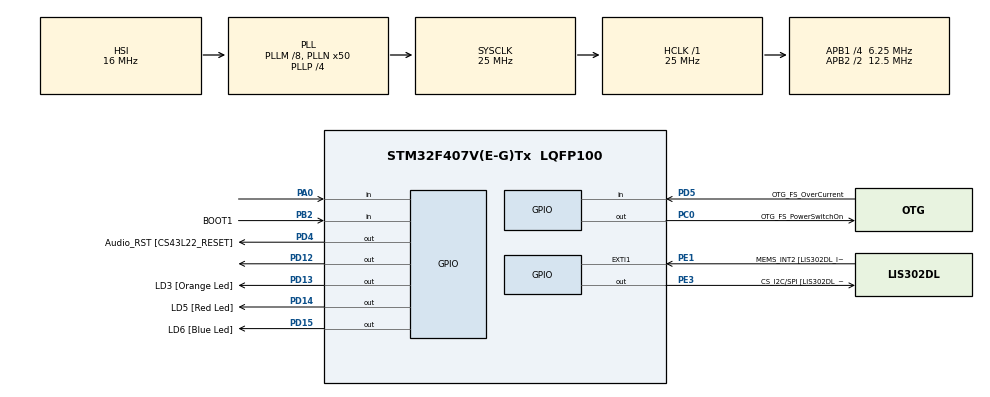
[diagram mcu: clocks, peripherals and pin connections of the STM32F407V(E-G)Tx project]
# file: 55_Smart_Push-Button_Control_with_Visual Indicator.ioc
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Mcu.Family=STM32F4
Mcu.Name=STM32F407V(E-G)Tx
Mcu.Package=LQFP100
NVIC.PriorityGroup=NVIC_PRIORITYGROUP_0
PA0-WKUP.Signal=GPIO_Input
PA10.GPIO_Label=OTG_FS_ID
PA10.GPIO_Mode=GPIO_MODE_AF_PP
PA10.GPIO_PuPd=GPIO_NOPULL
PA10.GPIO_Speed=GPIO_SPEED_FREQ_LOW
PA10.Signal=USB_OTG_FS_ID
PA11.GPIO_Label=OTG_FS_DM
PA11.GPIO_Mode=GPIO_MODE_AF_PP
PA11.GPIO_PuPd=GPIO_NOPULL
PA11.GPIO_Speed=GPIO_SPEED_FREQ_LOW
PA11.Signal=USB_OTG_FS_DM
PA12.GPIO_Label=OTG_FS_DP
PA12.GPIO_Mode=GPIO_MODE_AF_PP
PA12.GPIO_PuPd=GPIO_NOPULL
PA12.GPIO_Speed=GPIO_SPEED_FREQ_LOW
PA12.Signal=USB_OTG_FS_DP
PA13.GPIO_Label=SWDIO
PA13.Signal=SYS_JTMS-SWDIO
PA14.GPIO_Label=SWCLK
PA14.Signal=SYS_JTCK-SWCLK
PA4.GPIO_Label=I2S3_WS [CS43L22_LRCK]
PA4.GPIO_Mode=GPIO_MODE_AF_PP
PA4.GPIO_PuPd=GPIO_NOPULL
PA4.GPIO_Speed=GPIO_SPEED_FREQ_LOW
PA4.Signal=I2S3_WS
PA5.GPIO_Label=SPI1_SCK [LIS302DL_SCL/SPC]
PA5.GPIO_Mode=GPIO_MODE_AF_PP
PA5.GPIO_PuPd=GPIO_NOPULL
PA5.GPIO_Speed=GPIO_SPEED_FREQ_LOW
PA5.Signal=SPI1_SCK
PA6.GPIO_Label=SPI1_MISO [LIS302DL_SDO]
PA6.GPIO_Mode=GPIO_MODE_AF_PP
PA6.GPIO_PuPd=GPIO_NOPULL
PA6.GPIO_Speed=GPIO_SPEED_FREQ_LOW
PA6.Signal=SPI1_MISO
PA7.GPIO_Label=SPI1_MOSI [LIS302DL_SDA/SDI/SDO]
PA7.GPIO_Mode=GPIO_MODE_AF_PP
PA7.GPIO_PuPd=GPIO_NOPULL
PA7.GPIO_Speed=GPIO_SPEED_FREQ_LOW
PA7.Signal=SPI1_MOSI
PA9.GPIO_Label=VBUS_FS
PA9.GPIO_Mode=GPIO_MODE_INPUT
PA9.GPIO_PuPd=GPIO_NOPULL
PA9.Signal=USB_OTG_FS_VBUS
PB10.GPIO_Label=CLK_IN [MP45DT02_CLK]
PB10.GPIO_Mode=GPIO_MODE_AF_PP
PB10.GPIO_PuPd=GPIO_NOPULL
PB10.GPIO_Speed=GPIO_SPEED_FREQ_LOW
PB10.Signal=I2S2_CK
PB2.GPIO_Label=BOOT1
PB2.GPIO_Mode=GPIO_MODE_INPUT
PB2.GPIO_PuPd=GPIO_NOPULL
PB2.Signal=GPIO_Input
PB3.GPIO_Label=SWO
PB3.Signal=SYS_JTDO-SWO
PB6.GPIO_Label=Audio_SCL [CS43L22_SCL]
PB6.GPIO_Mode=GPIO_MODE_AF_OD
PB6.GPIO_PuPd=GPIO_NOPULL
PB6.GPIO_Speed=GPIO_SPEED_FREQ_LOW
PB6.Signal=I2C1_SCL
PB9.GPIO_Label=Audio_SDA [CS43L22_SDA]
PB9.GPIO_Mode=GPIO_MODE_AF_OD
PB9.GPIO_PuPd=GPIO_NOPULL
PB9.GPIO_Speed=GPIO_SPEED_FREQ_LOW
PB9.Signal=I2C1_SDA
PC0.GPIO_Label=OTG_FS_PowerSwitchOn
PC0.GPIO_PuPd=GPIO_NOPULL
PC0.GPIO_Speed=GPIO_SPEED_FREQ_LOW
PC0.PinState=GPIO_PIN_SET
PC0.Signal=GPIO_Output
PC10.GPIO_Label=I2S3_SCK [CS43L22_SCLK]
PC10.GPIO_Mode=GPIO_MODE_AF_PP
PC10.GPIO_PuPd=GPIO_NOPULL
PC10.GPIO_Speed=GPIO_SPEED_FREQ_LOW
PC10.Signal=I2S3_CK
PC12.GPIO_Label=I2S3_SD [CS43L22_SDIN]
PC12.GPIO_Mode=GPIO_MODE_AF_PP
PC12.GPIO_PuPd=GPIO_NOPULL
PC12.GPIO_Speed=GPIO_SPEED_FREQ_LOW
PC12.Signal=I2S3_SD
PC14-OSC32_IN.GPIO_Label=PC14-OSC32_IN
PC14-OSC32_IN.Signal=RCC_OSC32_IN
PC15-OSC32_OUT.GPIO_Label=PC15-OSC32_OUT
PC15-OSC32_OUT.Signal=RCC_OSC32_OUT
PC3.GPIO_Label=PDM_OUT [MP45DT02_DOUT]
PC3.GPIO_Mode=GPIO_MODE_AF_PP
PC3.GPIO_PuPd=GPIO_NOPULL
PC3.GPIO_Speed=GPIO_SPEED_FREQ_LOW
PC3.Signal=I2S2_SD
PC7.GPIO_Label=I2S3_MCK [CS43L22_MCLK]
PC7.GPIO_Mode=GPIO_MODE_AF_PP
PC7.GPIO_PuPd=GPIO_NOPULL
PC7.GPIO_Speed=GPIO_SPEED_FREQ_LOW
PC7.Signal=I2S3_MCK
PD12.Signal=GPIO_Output
PD13.GPIO_Label=LD3 [Orange Led]
PD13.GPIO_PuPd=GPIO_NOPULL
PD13.GPIO_Speed=GPIO_SPEED_FREQ_LOW
PD13.Signal=GPIO_Output
PD14.GPIO_Label=LD5 [Red Led]
PD14.GPIO_PuPd=GPIO_NOPULL
PD14.GPIO_Speed=GPIO_SPEED_FREQ_LOW
PD14.Signal=GPIO_Output
PD15.GPIO_Label=LD6 [Blue Led]
PD15.GPIO_PuPd=GPIO_NOPULL
PD15.GPIO_Speed=GPIO_SPEED_FREQ_LOW
PD15.Signal=GPIO_Output
PD4.GPIO_Label=Audio_RST [CS43L22_RESET]
PD4.GPIO_PuPd=GPIO_NOPULL
PD4.GPIO_Speed=GPIO_SPEED_FREQ_LOW
PD4.Signal=GPIO_Output
PD5.GPIO_Label=OTG_FS_OverCurrent
PD5.GPIO_Mode=GPIO_MODE_INPUT
PD5.GPIO_PuPd=GPIO_NOPULL
PD5.Signal=GPIO_Input
PE1.GPIO_Label=MEMS_INT2 [LIS302DL_INT2]
PE1.GPIO_ModeDefaultEXTI=GPIO_MODE_EVT_RISING
PE1.GPIO_PuPd=GPIO_NOPULL
PE1.Signal=GPXTI1
PE3.GPIO_Label=CS_I2C/SPI [LIS302DL_CS_I2C/SPI]
PE3.GPIO_PuPd=GPIO_NOPULL
PE3.GPIO_Speed=GPIO_SPEED_FREQ_LOW
PE3.Signal=GPIO_Output
PH0-OSC_IN.GPIO_Label=PH0-OSC_IN
PH0-OSC_IN.Signal=RCC_OSC_IN
PH1-OSC_OUT.GPIO_Label=PH1-OSC_OUT
PH1-OSC_OUT.Signal=RCC_OSC_OUT
ProjectManager.HeapSize=0x200
ProjectManager.StackSize=0x400
ProjectManager.TargetToolchain=STM32CubeIDE
RCC.48MHZClocksFreq_Value=14285714.285714285
RCC.AHBFreq_Value=25000000
RCC.APB1CLKDivider=RCC_HCLK_DIV4
RCC.APB1Freq_Value=6250000
RCC.APB1TimFreq_Value=12500000
RCC.APB2CLKDivider=RCC_HCLK_DIV2
RCC.APB2Freq_Value=12500000
RCC.APB2TimFreq_Value=25000000
RCC.CortexFreq_Value=25000000
RCC.HCLKFreq_Value=25000000
RCC.HSE_VALUE=8000000
RCC.HSI_VALUE=16000000
RCC.LSE_VALUE=32768
RCC.PLLM=8
RCC.PLLN=50
RCC.PLLP=RCC_PLLP_DIV4
RCC.PLLQ=7
RCC.SYSCLKFreq_VALUE=25000000
RCC.SYSCLKSource=RCC_SYSCLKSOURCE_PLLCLK
RCC.VCOOutputFreq_Value=100000000
board=STM32F407G-DISC1

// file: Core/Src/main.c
/* USER CODE BEGIN Header */
/**
  ******************************************************************************
  * @file           : main.c
  * @brief          : Main program body
  ******************************************************************************
  * @attention
  *
  * Copyright (c) 2026 STMicroelectronics.
  * All rights reserved.
  *
  * This software is licensed under terms that can be found in the LICENSE file
  * in the root directory of this software component.
  * If no LICENSE file comes with this software, it is provided AS-IS.
  *
  ******************************************************************************
  */
/* USER CODE END Header */
#include "main.h"

/* USER CODE BEGIN PV */
// Stores LED state
uint8_t led_state = 0;

// Button timing variables
uint32_t press_start = 0;
uint32_t press_duration = 0;

// Button state tracking
uint8_t button_pressed = 0;
/* USER CODE END PV */

void SystemClock_Config(void);
static void MX_GPIO_Init(void);

int main(void)
{

  /* MCU Configuration--------------------------------------------------------*/

  /* Reset of all peripherals, Initializes the Flash interface and the Systick. */
  HAL_Init();

  /* Configure the system clock */
  SystemClock_Config();

  /* Initialize all configured peripherals */
  MX_GPIO_Init();

  /* Infinite loop */
  while (1)
  {

    /* USER CODE BEGIN 3 */
	  // Read USER button state
	      if(HAL_GPIO_ReadPin(GPIOA, GPIO_PIN_0) == GPIO_PIN_SET)
	      {
	          // Debounce delay
	          HAL_Delay(50);

	          // Check again after debounce
	          if(HAL_GPIO_ReadPin(GPIOA, GPIO_PIN_0) == GPIO_PIN_SET)
	          {
	              // Button pressed first time
	              if(button_pressed == 0)
	              {
	                  button_pressed = 1;

	                  // Save press start time
	                  press_start = HAL_GetTick();
	              }
	          }
	      }
	      else
	      {
	          // Button released
	          if(button_pressed == 1)
	          {
	              button_pressed = 0;

	              // Calculate how long button pressed
	              press_duration = HAL_GetTick() - press_start;

	              // LONG PRESS (> 2 sec)
	              if(press_duration >= 2000)
	              {
	                  // Blink LED rapidly 3 times
	                  for(int i = 0; i < 3; i++)
	                  {
	                      HAL_GPIO_TogglePin(GPIOD,
	                                         GPIO_PIN_12);

	                      HAL_Delay(200);

	                      HAL_GPIO_TogglePin(GPIOD,
	                                         GPIO_PIN_12);

	                      HAL_Delay(200);
	                  }
	              }
	              else
	              {
	                  // SHORT PRESS
	                  // Toggle LED state
	                  led_state = !led_state;

	                  HAL_GPIO_WritePin(GPIOD,
	                                    GPIO_PIN_12,
	                                    led_state);
	              }
	          }
	      }
  }
  /* USER CODE END 3 */
}

void SystemClock_Config(void)
{
  RCC_OscInitTypeDef RCC_OscInitStruct = {0};
  RCC_ClkInitTypeDef RCC_ClkInitStruct = {0};

  /** Configure the main internal regulator output voltage
  */
  __HAL_RCC_PWR_CLK_ENABLE();
  __HAL_PWR_VOLTAGESCALING_CONFIG(PWR_REGULATOR_VOLTAGE_SCALE1);

  /** Initializes the RCC Oscillators according to the specified parameters
  * in the RCC_OscInitTypeDef structure.
  */
  RCC_OscInitStruct.OscillatorType = RCC_OSCILLATORTYPE_HSI;
  RCC_OscInitStruct.HSIState = RCC_HSI_ON;
  RCC_OscInitStruct.HSICalibrationValue = RCC_HSICALIBRATION_DEFAULT;
  RCC_OscInitStruct.PLL.PLLState = RCC_PLL_ON;
  RCC_OscInitStruct.PLL.PLLSource = RCC_PLLSOURCE_HSI;
  RCC_OscInitStruct.PLL.PLLM = 8;
  RCC_OscInitStruct.PLL.PLLN = 50;
  RCC_OscInitStruct.PLL.PLLP = RCC_PLLP_DIV4;
  RCC_OscInitStruct.PLL.PLLQ = 7;
  if (HAL_RCC_OscConfig(&RCC_OscInitStruct) != HAL_OK)
  {
    Error_Handler();
  }

  /** Initializes the CPU, AHB and APB buses clocks
  */
  RCC_ClkInitStruct.ClockType = RCC_CLOCKTYPE_HCLK|RCC_CLOCKTYPE_SYSCLK
                              |RCC_CLOCKTYPE_PCLK1|RCC_CLOCKTYPE_PCLK2;
  RCC_ClkInitStruct.SYSCLKSource = RCC_SYSCLKSOURCE_PLLCLK;
  RCC_ClkInitStruct.AHBCLKDivider = RCC_SYSCLK_DIV1;
  RCC_ClkInitStruct.APB1CLKDivider = RCC_HCLK_DIV4;
  RCC_ClkInitStruct.APB2CLKDivider = RCC_HCLK_DIV2;

  if (HAL_RCC_ClockConfig(&RCC_ClkInitStruct, FLASH_LATENCY_0) != HAL_OK)
  {
    Error_Handler();
  }
}

static void MX_GPIO_Init(void)
{
  GPIO_InitTypeDef GPIO_InitStruct = {0};

  /* GPIO Ports Clock Enable */
  __HAL_RCC_GPIOE_CLK_ENABLE();
  __HAL_RCC_GPIOC_CLK_ENABLE();
  __HAL_RCC_GPIOH_CLK_ENABLE();
  __HAL_RCC_GPIOA_CLK_ENABLE();
  __HAL_RCC_GPIOB_CLK_ENABLE();
  __HAL_RCC_GPIOD_CLK_ENABLE();

  /*Configure GPIO pin Output Level */
  HAL_GPIO_WritePin(CS_I2C_SPI_GPIO_Port, CS_I2C_SPI_Pin, GPIO_PIN_RESET);

  /*Configure GPIO pin Output Level */
  HAL_GPIO_WritePin(OTG_FS_PowerSwitchOn_GPIO_Port, OTG_FS_PowerSwitchOn_Pin, GPIO_PIN_SET);

  /*Configure GPIO pin Output Level */
  HAL_GPIO_WritePin(GPIOD, GPIO_PIN_12|LD3_Pin|LD5_Pin|LD6_Pin
                          |Audio_RST_Pin, GPIO_PIN_RESET);

  /*Configure GPIO pin : CS_I2C_SPI_Pin */
  GPIO_InitStruct.Pin = CS_I2C_SPI_Pin;
  GPIO_InitStruct.Mode = GPIO_MODE_OUTPUT_PP;
  GPIO_InitStruct.Pull = GPIO_NOPULL;
  GPIO_InitStruct.Speed = GPIO_SPEED_FREQ_LOW;
  HAL_GPIO_Init(CS_I2C_SPI_GPIO_Port, &GPIO_InitStruct);

  /*Configure GPIO pin : OTG_FS_PowerSwitchOn_Pin */
  GPIO_InitStruct.Pin = OTG_FS_PowerSwitchOn_Pin;
  GPIO_InitStruct.Mode = GPIO_MODE_OUTPUT_PP;
  GPIO_InitStruct.Pull = GPIO_NOPULL;
  GPIO_InitStruct.Speed = GPIO_SPEED_FREQ_LOW;
  HAL_GPIO_Init(OTG_FS_PowerSwitchOn_GPIO_Port, &GPIO_InitStruct);

  /*Configure GPIO pin : PDM_OUT_Pin */
  GPIO_InitStruct.Pin = PDM_OUT_Pin;
  GPIO_InitStruct.Mode = GPIO_MODE_AF_PP;
  GPIO_InitStruct.Pull = GPIO_NOPULL;
  GPIO_InitStruct.Speed = GPIO_SPEED_FREQ_LOW;
  GPIO_InitStruct.Alternate = GPIO_AF5_SPI2;
  HAL_GPIO_Init(PDM_OUT_GPIO_Port, &GPIO_InitStruct);

  /*Configure GPIO pin : PA0 */
  GPIO_InitStruct.Pin = GPIO_PIN_0;
  GPIO_InitStruct.Mode = GPIO_MODE_INPUT;
  GPIO_InitStruct.Pull = GPIO_NOPULL;
  HAL_GPIO_Init(GPIOA, &GPIO_InitStruct);

  /*Configure GPIO pin : I2S3_WS_Pin */
  GPIO_InitStruct.Pin = I2S3_WS_Pin;
  GPIO_InitStruct.Mode = GPIO_MODE_AF_PP;
  GPIO_InitStruct.Pull = GPIO_NOPULL;
  GPIO_InitStruct.Speed = GPIO_SPEED_FREQ_LOW;
  GPIO_InitStruct.Alternate = GPIO_AF6_SPI3;
  HAL_GPIO_Init(I2S3_WS_GPIO_Port, &GPIO_InitStruct);

  /*Configure GPIO pins : SPI1_SCK_Pin SPI1_MISO_Pin SPI1_MOSI_Pin */
  GPIO_InitStruct.Pin = SPI1_SCK_Pin|SPI1_MISO_Pin|SPI1_MOSI_Pin;
  GPIO_InitStruct.Mode = GPIO_MODE_AF_PP;
  GPIO_InitStruct.Pull = GPIO_NOPULL;
  GPIO_InitStruct.Speed = GPIO_SPEED_FREQ_LOW;
  GPIO_InitStruct.Alternate = GPIO_AF5_SPI1;
  HAL_GPIO_Init(GPIOA, &GPIO_InitStruct);

  /*Configure GPIO pin : BOOT1_Pin */
  GPIO_InitStruct.Pin = BOOT1_Pin;
  GPIO_InitStruct.Mode = GPIO_MODE_INPUT;
  GPIO_InitStruct.Pull = GPIO_NOPULL;
  HAL_GPIO_Init(BOOT1_GPIO_Port, &GPIO_InitStruct);

  /*Configure GPIO pin : CLK_IN_Pin */
  GPIO_InitStruct.Pin = CLK_IN_Pin;
  GPIO_InitStruct.Mode = GPIO_MODE_AF_PP;
  GPIO_InitStruct.Pull = GPIO_NOPULL;
  GPIO_InitStruct.Speed = GPIO_SPEED_FREQ_LOW;
  GPIO_InitStruct.Alternate = GPIO_AF5_SPI2;
  HAL_GPIO_Init(CLK_IN_GPIO_Port, &GPIO_InitStruct);

  /*Configure GPIO pins : PD12 LD3_Pin LD5_Pin LD6_Pin
                           Audio_RST_Pin */
  GPIO_InitStruct.Pin = GPIO_PIN_12|LD3_Pin|LD5_Pin|LD6_Pin
                          |Audio_RST_Pin;
  GPIO_InitStruct.Mode = GPIO_MODE_OUTPUT_PP;
  GPIO_InitStruct.Pull = GPIO_NOPULL;
  GPIO_InitStruct.Speed = GPIO_SPEED_FREQ_LOW;
  HAL_GPIO_Init(GPIOD, &GPIO_InitStruct);

  /*Configure GPIO pins : I2S3_MCK_Pin I2S3_SCK_Pin I2S3_SD_Pin */
  GPIO_InitStruct.Pin = I2S3_MCK_Pin|I2S3_SCK_Pin|I2S3_SD_Pin;
  GPIO_InitStruct.Mode = GPIO_MODE_AF_PP;
  GPIO_InitStruct.Pull = GPIO_NOPULL;
  GPIO_InitStruct.Speed = GPIO_SPEED_FREQ_LOW;
  GPIO_InitStruct.Alternate = GPIO_AF6_SPI3;
  HAL_GPIO_Init(GPIOC, &GPIO_InitStruct);

  /*Configure GPIO pin : VBUS_FS_Pin */
  GPIO_InitStruct.Pin = VBUS_FS_Pin;
  GPIO_InitStruct.Mode = GPIO_MODE_INPUT;
  GPIO_InitStruct.Pull = GPIO_NOPULL;
  HAL_GPIO_Init(VBUS_FS_GPIO_Port, &GPIO_InitStruct);

  /*Configure GPIO pins : OTG_FS_ID_Pin OTG_FS_DM_Pin OTG_FS_DP_Pin */
  GPIO_InitStruct.Pin = OTG_FS_ID_Pin|OTG_FS_DM_Pin|OTG_FS_DP_Pin;
  GPIO_InitStruct.Mode = GPIO_MODE_AF_PP;
  GPIO_InitStruct.Pull = GPIO_NOPULL;
  GPIO_InitStruct.Speed = GPIO_SPEED_FREQ_LOW;
  GPIO_InitStruct.Alternate = GPIO_AF10_OTG_FS;
  HAL_GPIO_Init(GPIOA, &GPIO_InitStruct);

  /*Configure GPIO pin : OTG_FS_OverCurrent_Pin */
  GPIO_InitStruct.Pin = OTG_FS_OverCurrent_Pin;
  GPIO_InitStruct.Mode = GPIO_MODE_INPUT;
  GPIO_InitStruct.Pull = GPIO_NOPULL;
  HAL_GPIO_Init(OTG_FS_OverCurrent_GPIO_Port, &GPIO_InitStruct);

  /*Configure GPIO pins : Audio_SCL_Pin Audio_SDA_Pin */
  GPIO_InitStruct.Pin = Audio_SCL_Pin|Audio_SDA_Pin;
  GPIO_InitStruct.Mode = GPIO_MODE_AF_OD;
  GPIO_InitStruct.Pull = GPIO_NOPULL;
  GPIO_InitStruct.Speed = GPIO_SPEED_FREQ_LOW;
  GPIO_InitStruct.Alternate = GPIO_AF4_I2C1;
  HAL_GPIO_Init(GPIOB, &GPIO_InitStruct);

  /*Configure GPIO pin : MEMS_INT2_Pin */
  GPIO_InitStruct.Pin = MEMS_INT2_Pin;
  GPIO_InitStruct.Mode = GPIO_MODE_EVT_RISING;
  GPIO_InitStruct.Pull = GPIO_NOPULL;
  HAL_GPIO_Init(MEMS_INT2_GPIO_Port, &GPIO_InitStruct);

}

void Error_Handler(void)
{
  __disable_irq();
  while (1)
  {
  }
}
